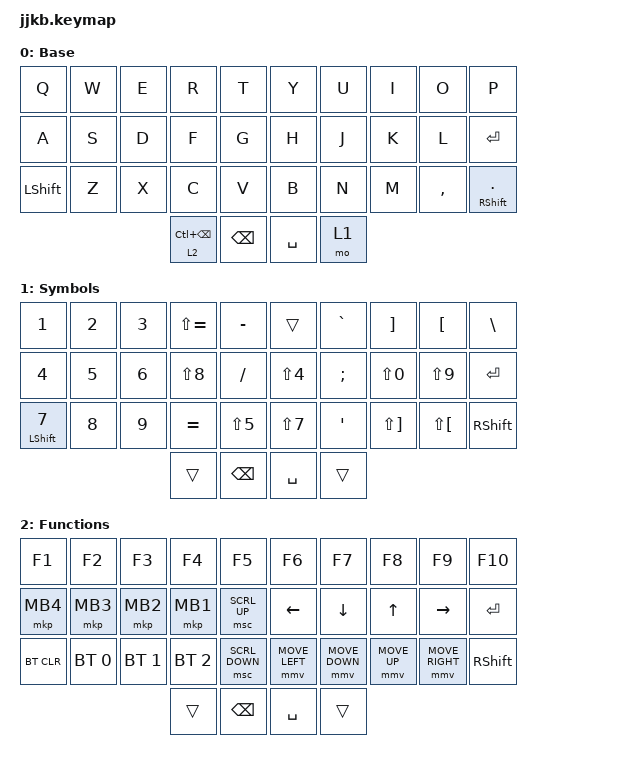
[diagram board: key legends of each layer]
#define ZMK_POINTING_DEFAULT_MOVE_VAL 800
#define ZMK_POINTING_DEFAULT_SCRL_VAL 20
#include <behaviors.dtsi>
#include <dt-bindings/zmk/bt.h>
#include <dt-bindings/zmk/keys.h>
#include <dt-bindings/zmk/pointing.h>
&lt {
    flavor = "hold-preferred";
};
/ {
    chosen {
		zmk,physical-layout = &layout;
    };
};

/ {
    keymap {
        compatible = "zmk,keymap";

        base {
            display-name = "Base";
            bindings = <
&kp Q       &kp W       &kp E      &kp R &kp T    &kp Y      &kp U       &kp I          &kp O         &kp P
&kp A       &kp S       &kp D      &kp F &kp G    &kp H      &kp J       &kp K          &kp L         &kp RET 
&kp LSHFT   &kp Z       &kp X      &kp C &kp V    &kp B      &kp N       &kp M          &kp COMMA     &mt RSHFT DOT 
                                   &lt 2 LC(BSPC) &kp BSPC   &kp SPACE   &mo 1 
            >;
        };

        lower {
            display-name = "Symbols";
            bindings = <
&kp N1       &kp N2      &kp N3     &kp LS(EQUAL) &kp MINUS      &trans          &kp GRAVE   &kp RBKT       &kp LBKT      &kp BSLH
&kp N4       &kp N5      &kp N6     &kp LS(N8)    &kp SLASH      &kp LS(N4)      &kp SEMI    &kp LS(N0)     &kp LS(N9)    &kp RET 
&mt LSHFT N7 &kp N8      &kp N9     &kp EQUAL     &kp LS(N5)     &kp LS(N7)      &kp SQT     &kp LS(RBKT)   &kp LS(LBKT)  &kp RSHFT
                                   &trans         &kp BSPC   &kp SPACE   &trans   
            >;
        };

        upper {
            display-name = "Functions";
            bindings = <
&kp F1         &kp F2       &kp F3       &kp F4         &kp F5         &kp F6          &kp F7            &kp F8         &kp F9          &kp F10 
&mkp MB4       &mkp MB3     &mkp MB2     &mkp MB1       &msc SCRL_UP   &kp LEFT        &kp DOWN          &kp UP         &kp RIGHT       &kp RET 
&bt BT_CLR &bt BT_SEL 0 &bt BT_SEL 1 &bt BT_SEL 2   &msc SCRL_DOWN &mmv MOVE_LEFT  &mmv MOVE_DOWN    &mmv MOVE_UP   &mmv MOVE_RIGHT &kp RSHFT
                                   &trans         &kp BSPC   &kp SPACE   &trans   
            >;
        };
extra1 {
            status = "reserved";
        };

        extra2 {
            status = "reserved";
        };

    };
combos {
			compatible = "zmk,combos";

            combo_ctrl {
                timeout-ms = <50>;
                bindings = <&kp LGUI>;
                key-positions = <11 1>;
            };

            combo_alt {
                timeout-ms = <50>;
                bindings = <&kp LALT>;
                key-positions = <12 2>;
            };

            combo_gui {
                timeout-ms = <50>;
                bindings = <&kp LCTRL>;
                key-positions = <13 3>;
            };

            combo_ctrl_r {
                timeout-ms = <50>;
                bindings = <&kp RCTRL>;
                key-positions = <16 6>;
            };

            combo_alt_r {
                timeout-ms = <50>;
                bindings = <&kp RALT>;
                key-positions = <17 7>;
            };

            combo_gui_r {
                timeout-ms = <50>;
                bindings = <&kp RGUI>;
                key-positions = <18 8>;
            };
            combo_tab {
                timeout-ms = <50>;
                bindings = <&kp TAB>;
                key-positions = <12 13>;
            };

            combo_esc {
                timeout-ms = <50>;
                bindings = <&kp ESC>;
                key-positions = <16 17>;
            };
            combo_reset {
                timeout-ms = <1000>;
                bindings = <&bootloader>;
                key-positions = <00 20 9 29>; 
                layers = <1>;
            };
            combo_studio {
                timeout-ms = <1000>;
                bindings = <&studio_unlock>;
                key-positions = <00 20 9 29>; 
                layers = <0>;
            };
            
            combo_clear {
                timeout-ms = <1000>;
                bindings = <&bootloader>;
                key-positions = <20 23>;
                layers = <1>;
            };
            // 5 (N5) + 8 (N8) = 0 (N0)
            combo_zero {
                timeout-ms = <50>;
                bindings = <&kp N0>;
                key-positions = <11 21>;
                layers = <1>; 
            };
		};
};
